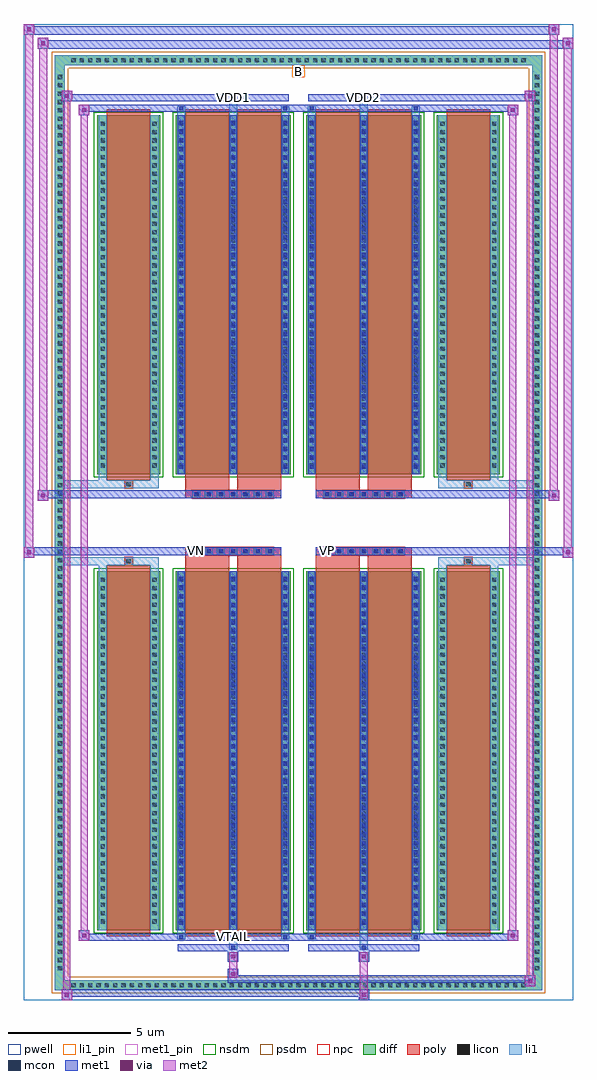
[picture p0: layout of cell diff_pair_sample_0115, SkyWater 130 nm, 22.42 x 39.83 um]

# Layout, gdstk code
import gdstk
lib = gdstk.Library(unit=1e-6, precision=5e-09)
def R(c, l, rs):  # rectangles x0, y0, x1, y1
    for r in rs: c.add(gdstk.rectangle(r[:2], r[2:], *l))
def A(c, l, x, y, w, h, nx, ny, dx, dy):  # array of equal rectangles
    R(c, l, [(x+i*dx, y+j*dy, x+i*dx+w, y+j*dy+h) for i in range(nx) for j in range(ny)])
def P(c, l, *ps):  # polygons
    for p in ps: c.add(gdstk.Polygon(p, *l))
pwell = (64, 44)
diff = (65, 20)
poly = (66, 20)
licon = (66, 44)
li1_pin = (67, 16)
li1 = (67, 20)
mcon = (67, 44)
met1_pin = (68, 16)
met1 = (68, 20)
via = (68, 44)
met2 = (69, 20)
nsdm = (93, 44)
psdm = (94, 20)
npc = (95, 20)

diff_pair_sample_0115 = lib.new_cell('diff_pair_sample_0115')
R(diff_pair_sample_0115, pwell, [(-11.21,-19.48,11.21,20.35), (-8.53,-17.67,-0.01,-0.795), (0.01,-17.67,8.53,-0.795), (-8.53,0.795,-0.01,17.67), (0.01,0.795,8.53,17.67)])
A(diff_pair_sample_0115, diff, -9.385, -19.08, 0.41, 0.41, 55, 2, 0.34, 37.75)
A(diff_pair_sample_0115, diff, -9.94, -18.395, 0.41, 0.41, 1, 108, 0, 0.34)
A(diff_pair_sample_0115, diff, 9.53, -18.395, 0.41, 0.41, 1, 108, 0, 0.34)
R(diff_pair_sample_0115, diff, [(-9.385,-19.08,9.385,-18.67), (-9.94,-18.395,-9.53,18.395), (9.53,-18.395,9.94,18.395), (-8.22,-16.625,-5.65,-1.985), (-5.01,-16.625,-0.32,-1.985), (0.32,-16.625,5.01,-1.985), (5.65,-16.625,8.22,-1.985), (-8.22,1.985,-5.65,16.625), (-5.01,1.985,-0.32,16.625), (0.32,1.985,5.01,16.625), (5.65,1.985,8.22,16.625), (-9.385,18.67,9.385,19.08)])
P(diff_pair_sample_0115, diff, [(9.94,19.08),(-9.94,19.08),(-9.94,-18.67),(-9.53,-18.67),(-9.53,18.67),(9.53,18.67),(9.53,-18.67),(-9.53,-18.67),(-9.94,-18.67),(-9.94,-19.08),(9.94,-19.08)])
A(diff_pair_sample_0115, poly, -4.33, -1.325, 0.33, 0.33, 7, 2, 0.5, 2.32)
A(diff_pair_sample_0115, poly, 1, -1.325, 0.33, 0.33, 7, 2, 0.5, 2.32)
R(diff_pair_sample_0115, poly, [(-7.83,-16.875,-6.04,-1.735), (-4.62,-16.875,-2.83,-1.735), (-2.5,-16.875,-0.71,-1.735), (0.71,-16.875,2.5,-1.735), (2.83,-16.875,4.62,-1.735), (6.04,-16.875,7.83,-1.735), (-7.1,-1.735,-6.77,-1.405), (-7.1,-1.735,-6.77,-1.405), (-4.62,-1.735,-2.83,-1.325), (-2.5,-1.735,-0.71,-1.325), (0.71,-1.735,2.5,-1.325), (2.83,-1.735,4.62,-1.325), (6.77,-1.735,7.1,-1.405), (6.77,-1.735,7.1,-1.405), (-4.62,-1.325,-0.71,-0.995), (0.71,-1.325,4.62,-0.995), (-4.62,0.995,-0.71,1.325), (0.71,0.995,4.62,1.325), (-4.62,1.325,-2.83,1.735), (-2.5,1.325,-0.71,1.735), (0.71,1.325,2.5,1.735), (2.83,1.325,4.62,1.735), (-7.1,1.405,-6.77,1.735), (-7.1,1.405,-6.77,1.735), (6.77,1.405,7.1,1.735), (6.77,1.405,7.1,1.735), (-7.83,1.735,-6.04,16.875), (-4.62,1.735,-2.83,16.875), (-2.5,1.735,-0.71,16.875), (0.71,1.735,2.5,16.875), (2.83,1.735,4.62,16.875), (6.04,1.735,7.83,16.875)])
A(diff_pair_sample_0115, licon, -9.265, -18.96, 0.17, 0.17, 55, 2, 0.34, 37.75)
A(diff_pair_sample_0115, licon, -9.82, -18.275, 0.17, 0.17, 1, 108, 0, 0.34)
A(diff_pair_sample_0115, licon, 9.65, -18.275, 0.17, 0.17, 1, 108, 0, 0.34)
A(diff_pair_sample_0115, licon, -8.08, -16.36, 0.17, 0.17, 1, 42, 0, 0.34)
A(diff_pair_sample_0115, licon, -5.96, -16.36, 0.17, 0.17, 1, 42, 0, 0.34)
A(diff_pair_sample_0115, licon, -4.87, -16.36, 0.17, 0.17, 3, 42, 2.12, 0.34)
A(diff_pair_sample_0115, licon, 0.46, -16.36, 0.17, 0.17, 3, 42, 2.12, 0.34)
A(diff_pair_sample_0115, licon, 5.79, -16.36, 0.17, 0.17, 1, 42, 0, 0.34)
A(diff_pair_sample_0115, licon, 7.91, -16.36, 0.17, 0.17, 1, 42, 0, 0.34)
A(diff_pair_sample_0115, licon, -4.25, -1.245, 0.17, 0.17, 7, 2, 0.5, 2.32)
A(diff_pair_sample_0115, licon, 1.08, -1.245, 0.17, 0.17, 7, 2, 0.5, 2.32)
A(diff_pair_sample_0115, licon, -8.08, 2.25, 0.17, 0.17, 1, 42, 0, 0.34)
A(diff_pair_sample_0115, licon, -5.96, 2.25, 0.17, 0.17, 1, 42, 0, 0.34)
A(diff_pair_sample_0115, licon, -4.87, 2.25, 0.17, 0.17, 3, 42, 2.12, 0.34)
A(diff_pair_sample_0115, licon, 0.46, 2.25, 0.17, 0.17, 3, 42, 2.12, 0.34)
A(diff_pair_sample_0115, licon, 5.79, 2.25, 0.17, 0.17, 1, 42, 0, 0.34)
A(diff_pair_sample_0115, licon, 7.91, 2.25, 0.17, 0.17, 1, 42, 0, 0.34)
R(diff_pair_sample_0115, licon, [(-7.02,-1.655,-6.85,-1.485), (6.85,-1.655,7.02,-1.485), (-7.02,1.485,-6.85,1.655), (6.85,1.485,7.02,1.655)])
R(diff_pair_sample_0115, li1_pin, [(-0.25,18.17,0.25,18.67)])
A(diff_pair_sample_0115, li1, -9.345, -19.04, 0.33, 0.33, 55, 2, 0.34, 37.75)
A(diff_pair_sample_0115, li1, -9.9, -18.355, 0.33, 0.33, 1, 108, 0, 0.34)
A(diff_pair_sample_0115, li1, 9.57, -18.355, 0.33, 0.33, 1, 108, 0, 0.34)
A(diff_pair_sample_0115, li1, -4.95, -16.625, 0.33, 14.64, 3, 2, 2.12, 18.61)
A(diff_pair_sample_0115, li1, 0.38, -16.625, 0.33, 14.64, 3, 2, 2.12, 18.61)
A(diff_pair_sample_0115, li1, -8.16, -16.44, 0.33, 0.33, 1, 42, 0, 0.34)
A(diff_pair_sample_0115, li1, -6.04, -16.44, 0.33, 0.33, 1, 42, 0, 0.34)
A(diff_pair_sample_0115, li1, -4.95, -16.44, 0.33, 0.33, 3, 42, 2.12, 0.34)
A(diff_pair_sample_0115, li1, 0.38, -16.44, 0.33, 0.33, 3, 42, 2.12, 0.34)
A(diff_pair_sample_0115, li1, 5.71, -16.44, 0.33, 0.33, 1, 42, 0, 0.34)
A(diff_pair_sample_0115, li1, 7.83, -16.44, 0.33, 0.33, 1, 42, 0, 0.34)
A(diff_pair_sample_0115, li1, -4.87, -16.41, 0.17, 0.17, 3, 40, 2.12, 0.36)
A(diff_pair_sample_0115, li1, -4.87, -16.41, 0.17, 14.21, 3, 2, 2.12, 18.61)
A(diff_pair_sample_0115, li1, 0.46, -16.41, 0.17, 0.17, 3, 40, 2.12, 0.36)
A(diff_pair_sample_0115, li1, 0.46, -16.41, 0.17, 14.21, 3, 2, 2.12, 18.61)
A(diff_pair_sample_0115, li1, -4.33, -1.325, 0.33, 0.33, 7, 2, 0.5, 2.32)
A(diff_pair_sample_0115, li1, 1, -1.325, 0.33, 0.33, 7, 2, 0.5, 2.32)
A(diff_pair_sample_0115, li1, -8.16, 2.17, 0.33, 0.33, 1, 42, 0, 0.34)
A(diff_pair_sample_0115, li1, -6.04, 2.17, 0.33, 0.33, 1, 42, 0, 0.34)
A(diff_pair_sample_0115, li1, -4.95, 2.17, 0.33, 0.33, 3, 42, 2.12, 0.34)
A(diff_pair_sample_0115, li1, 0.38, 2.17, 0.33, 0.33, 3, 42, 2.12, 0.34)
A(diff_pair_sample_0115, li1, 5.71, 2.17, 0.33, 0.33, 1, 42, 0, 0.34)
A(diff_pair_sample_0115, li1, 7.83, 2.17, 0.33, 0.33, 1, 42, 0, 0.34)
A(diff_pair_sample_0115, li1, -4.87, 2.2, 0.17, 0.17, 3, 40, 2.12, 0.36)
A(diff_pair_sample_0115, li1, 0.46, 2.2, 0.17, 0.17, 3, 40, 2.12, 0.36)
R(diff_pair_sample_0115, li1, [(-9.94,-19.08,-9.53,-18.67), (-9.94,-19.08,-9.53,-18.67), (-9.53,-19.08,9.53,-18.67), (9.53,-19.08,9.94,-18.67), (9.53,-19.08,9.94,-18.67), (-9.94,-18.67,-9.53,18.67), (9.53,-18.67,9.94,18.67), (-2.83,-17.43,-2.5,-16.625), (-2.75,-17.43,-2.58,-17.26), (2.5,-17.43,2.83,-16.625), (2.58,-17.43,2.75,-17.26), (-4.95,-17,-4.62,-16.625), (-4.87,-17,-4.7,-16.83), (-0.71,-17,-0.38,-16.625), (-0.63,-17,-0.46,-16.83), (0.38,-17,0.71,-16.625), (0.46,-17,0.63,-16.83), (4.62,-17,4.95,-16.625), (4.7,-17,4.87,-16.83), (-8.16,-16.625,-7.83,-1.985), (-6.04,-16.625,-5.71,-1.985), (5.71,-16.625,6.04,-1.985), (7.83,-16.625,8.16,-1.985), (-8.16,-1.985,-7.83,-1.405), (-6.04,-1.985,-5.71,-1.405), (5.71,-1.985,6.04,-1.405), (7.83,-1.985,8.16,-1.405), (-9.94,-1.735,-7.1,-1.405), (-8.16,-1.735,-7.1,-1.405), (-7.1,-1.735,-6.77,-1.405), (-6.77,-1.735,-5.71,-1.405), (5.71,-1.735,6.77,-1.405), (6.77,-1.735,7.1,-1.405), (6.77,-1.735,9.94,-1.405), (7.1,-1.735,8.16,-1.405), (-9.94,1.405,-7.1,1.735), (-8.16,1.405,-7.1,1.735), (-8.16,1.405,-7.83,1.985), (-7.1,1.405,-6.77,1.735), (-6.77,1.405,-5.71,1.735), (-6.04,1.405,-5.71,1.985), (5.71,1.405,6.77,1.735), (5.71,1.405,6.04,1.985), (6.77,1.405,7.1,1.735), (6.77,1.405,9.94,1.735), (7.1,1.405,8.16,1.735), (7.83,1.405,8.16,1.985), (-8.16,1.985,-7.83,16.625), (-6.04,1.985,-5.71,16.625), (5.71,1.985,6.04,16.625), (7.83,1.985,8.16,16.625), (-4.95,16.625,-4.62,17), (-2.83,16.625,-2.5,17.43), (-0.71,16.625,-0.38,17), (0.38,16.625,0.71,17), (2.5,16.625,2.83,17.43), (4.62,16.625,4.95,17), (-4.87,16.83,-4.7,17), (-0.63,16.83,-0.46,17), (0.46,16.83,0.63,17), (4.7,16.83,4.87,17), (-2.75,17.26,-2.58,17.43), (2.58,17.26,2.75,17.43), (-9.94,18.67,-9.53,19.08), (-9.94,18.67,-9.53,19.08), (-9.53,18.67,9.53,19.08), (9.53,18.67,9.94,19.08), (9.53,18.67,9.94,19.08)])
A(diff_pair_sample_0115, mcon, -4.87, -16.41, 0.17, 0.17, 3, 40, 2.12, 0.36)
A(diff_pair_sample_0115, mcon, 0.46, -16.41, 0.17, 0.17, 3, 40, 2.12, 0.36)
A(diff_pair_sample_0115, mcon, -4.25, -1.245, 0.17, 0.17, 7, 2, 0.5, 2.32)
A(diff_pair_sample_0115, mcon, 1.08, -1.245, 0.17, 0.17, 7, 2, 0.5, 2.32)
A(diff_pair_sample_0115, mcon, -4.87, 2.2, 0.17, 0.17, 3, 40, 2.12, 0.36)
A(diff_pair_sample_0115, mcon, 0.46, 2.2, 0.17, 0.17, 3, 40, 2.12, 0.36)
R(diff_pair_sample_0115, mcon, [(-2.75,-17.43,-2.58,-17.26), (2.58,-17.43,2.75,-17.26), (-4.87,-17,-4.7,-16.83), (-0.63,-17,-0.46,-16.83), (0.46,-17,0.63,-16.83), (4.7,-17,4.87,-16.83), (-4.87,16.83,-4.7,17), (-0.63,16.83,-0.46,17), (0.46,16.83,0.63,17), (4.7,16.83,4.87,17), (-2.75,17.26,-2.58,17.43), (2.58,17.26,2.75,17.43)])
R(diff_pair_sample_0115, met1_pin, [(-2.8,-17.04,-2.53,-16.77), (-4.3,-1.285,-4.03,-1.015), (1.03,-1.285,1.3,-1.015), (-2.8,17.22,-2.53,17.49), (2.53,17.22,2.8,17.49)])
A(diff_pair_sample_0115, met1, -4.93, -16.625, 0.29, 14.64, 3, 2, 2.12, 18.61)
A(diff_pair_sample_0115, met1, 0.4, -16.625, 0.29, 14.64, 3, 2, 2.12, 18.61)
A(diff_pair_sample_0115, met1, -4.93, -16.47, 0.29, 0.29, 3, 40, 2.12, 0.36)
A(diff_pair_sample_0115, met1, 0.4, -16.47, 0.29, 0.29, 3, 40, 2.12, 0.36)
A(diff_pair_sample_0115, met1, -4.31, -1.305, 0.29, 0.29, 7, 2, 0.5, 2.32)
A(diff_pair_sample_0115, met1, 1.02, -1.305, 0.29, 0.29, 7, 2, 0.5, 2.32)
A(diff_pair_sample_0115, met1, -4.93, 2.14, 0.29, 0.29, 3, 40, 2.12, 0.36)
A(diff_pair_sample_0115, met1, 0.4, 2.14, 0.29, 0.29, 3, 40, 2.12, 0.36)
R(diff_pair_sample_0115, met1, [(-9.67,-19.48,-9.24,-19.05), (2.45,-19.48,2.88,-19.05), (-9.67,-19.34,2.88,-19.05), (9.24,-18.91,9.67,-18.48), (-2.88,-18.77,9.67,-18.48), (-2.88,-18.63,-2.45,-18.2), (-2.88,-17.92,-2.45,-17.49), (2.45,-17.92,2.88,-17.49), (-4.93,-17.49,-0.4,-17.2), (-2.81,-17.49,-2.52,-17.2), (0.4,-17.49,4.93,-17.2), (2.52,-17.49,2.81,-17.2), (-8.96,-17.06,-8.53,-16.63), (-8.96,-17.06,-4.93,-16.77), (-4.93,-17.06,-4.64,-16.77), (-4.93,-17.06,-0.4,-16.77), (-0.69,-17.06,-0.4,-16.77), (-0.4,-17.06,0.4,-16.77), (0.4,-17.06,0.69,-16.77), (0.4,-17.06,4.93,-16.77), (4.64,-17.06,4.93,-16.77), (4.93,-17.06,8.96,-16.77), (8.53,-17.06,8.96,-16.63), (-11.21,-1.425,-10.78,-0.995), (10.78,-1.425,11.21,-0.995), (-11.21,-1.325,-0.71,-0.995), (-4.62,-1.325,-0.71,-0.995), (0.71,-1.325,4.62,-0.995), (0.71,-1.325,11.21,-0.995), (-10.64,0.895,-10.21,1.325), (10.21,0.895,10.64,1.325), (-10.64,0.995,-4.62,1.325), (-4.62,0.995,-0.71,1.325), (0.71,0.995,4.62,1.325), (4.62,0.995,10.64,1.325), (-8.96,16.63,-8.53,17.06), (8.53,16.63,8.96,17.06), (-8.96,16.77,-4.93,17.06), (-4.93,16.77,-4.64,17.06), (-4.93,16.77,-0.4,17.06), (-0.69,16.77,-0.4,17.06), (-0.4,16.77,0.4,17.06), (0.4,16.77,0.69,17.06), (0.4,16.77,4.93,17.06), (4.64,16.77,4.93,17.06), (4.93,16.77,8.96,17.06), (-9.67,17.2,-9.24,17.63), (-9.67,17.2,-4.93,17.49), (-4.93,17.2,-0.4,17.49), (-2.81,17.2,-2.52,17.49), (0.4,17.2,4.93,17.49), (2.52,17.2,2.81,17.49), (4.93,17.2,9.67,17.49), (9.24,17.2,9.67,17.63), (-10.64,19.35,-10.21,19.78), (-10.64,19.35,-8.53,19.68), (-8.53,19.35,8.53,19.68), (8.53,19.35,11.21,19.68), (10.78,19.35,11.21,19.78), (-11.21,19.92,-10.78,20.35), (-11.21,19.92,-8.53,20.25), (-8.53,19.92,8.53,20.25), (8.53,19.92,10.64,20.25), (10.21,19.92,10.64,20.35)])
R(diff_pair_sample_0115, via, [(-9.53,-19.34,-9.38,-19.19), (2.59,-19.34,2.74,-19.19), (9.38,-18.77,9.53,-18.62), (-2.74,-18.49,-2.59,-18.34), (-2.74,-17.78,-2.59,-17.63), (2.59,-17.78,2.74,-17.63), (-8.82,-16.92,-8.67,-16.77), (8.67,-16.92,8.82,-16.77), (-11.07,-1.285,-10.92,-1.135), (10.92,-1.285,11.07,-1.135), (-10.5,1.035,-10.35,1.185), (10.35,1.035,10.5,1.185), (-8.82,16.77,-8.67,16.92), (8.67,16.77,8.82,16.92), (-9.53,17.34,-9.38,17.49), (9.38,17.34,9.53,17.49), (-10.5,19.49,-10.35,19.64), (10.92,19.49,11.07,19.64), (-11.07,20.06,-10.92,20.21), (10.35,20.06,10.5,20.21)])
R(diff_pair_sample_0115, met2, [(-9.67,-19.48,-9.24,-19.05), (-9.6,-19.48,-9.31,17.63), (-9.31,-19.48,-9.24,-19.05), (-9.62,-19.43,-9.29,-19.1), (2.5,-19.43,2.83,-19.1), (2.5,-19.1,2.83,-17.87), (9.24,-18.91,9.67,-18.48), (9.31,-18.91,9.6,17.63), (9.6,-18.91,9.67,-18.48), (9.29,-18.86,9.62,-18.53), (-2.83,-18.58,-2.5,-18.25), (-2.83,-18.25,-2.5,-17.87), (-2.83,-17.87,-2.5,-17.54), (2.5,-17.87,2.83,-17.54), (-8.96,-17.06,-8.53,-16.63), (-8.89,-17.06,-8.6,17.06), (-8.6,-17.06,-8.53,-16.63), (8.53,-17.06,8.96,-16.63), (8.6,-17.06,8.89,17.06), (8.89,-17.06,8.96,-16.63), (-8.91,-17.01,-8.58,-16.68), (8.58,-17.01,8.91,-16.68), (-11.21,-1.425,-10.78,-0.995), (-11.16,-1.425,-10.83,20.35), (-10.83,-1.425,-10.78,-0.995), (10.78,-1.425,11.21,-0.995), (10.83,-1.425,11.16,19.78), (11.16,-1.425,11.21,-0.995), (-11.16,-1.375,-10.83,-1.045), (10.83,-1.375,11.16,-1.045), (-10.64,0.895,-10.21,1.325), (-10.59,0.895,-10.26,19.78), (-10.26,0.895,-10.21,1.325), (10.21,0.895,10.64,1.325), (10.26,0.895,10.59,20.35), (10.59,0.895,10.64,1.325), (-10.59,0.945,-10.26,1.275), (10.26,0.945,10.59,1.275), (-8.96,16.63,-8.53,17.06), (-8.6,16.63,-8.53,17.06), (8.53,16.63,8.96,17.06), (8.89,16.63,8.96,17.06), (-8.91,16.68,-8.58,17.01), (8.58,16.68,8.91,17.01), (-9.67,17.2,-9.24,17.63), (-9.31,17.2,-9.24,17.63), (9.24,17.2,9.67,17.63), (9.6,17.2,9.67,17.63), (-9.62,17.25,-9.29,17.58), (9.29,17.25,9.62,17.58), (-10.64,19.35,-10.21,19.78), (-10.26,19.35,-10.21,19.78), (10.78,19.35,11.21,19.78), (11.16,19.35,11.21,19.78), (-10.59,19.4,-10.26,19.73), (10.83,19.4,11.16,19.73), (-11.21,19.92,-10.78,20.35), (-10.83,19.92,-10.78,20.35), (10.21,19.92,10.64,20.35), (10.59,19.92,10.64,20.35), (-11.16,19.97,-10.83,20.3), (10.26,19.97,10.59,20.3)])
R(diff_pair_sample_0115, nsdm, [(-8.35,-16.755,-5.52,-1.855), (-5.14,-16.755,-0.19,-1.855), (0.19,-16.755,5.14,-1.855), (5.52,-16.755,8.35,-1.855), (-8.35,1.855,-5.52,16.755), (-5.14,1.855,-0.19,16.755), (0.19,1.855,5.14,16.755), (5.52,1.855,8.35,16.755)])
P(diff_pair_sample_0115, psdm, [(10.07,19.21),(-10.07,19.21),(-10.07,-18.54),(-9.4,-18.54),(-9.4,18.54),(9.4,18.54),(9.4,-18.54),(-9.4,-18.54),(-10.07,-18.54),(-10.07,-19.21),(10.07,-19.21)])
A(diff_pair_sample_0115, npc, -4.35, -1.345, 0.37, 0.37, 7, 2, 0.5, 2.32)
A(diff_pair_sample_0115, npc, 0.98, -1.345, 0.37, 0.37, 7, 2, 0.5, 2.32)
R(diff_pair_sample_0115, npc, [(-7.12,-1.755,-6.75,-1.385), (6.75,-1.755,7.12,-1.385), (-4.35,-1.345,-3.48,-0.975), (-4.35,-1.345,-3.48,-0.975), (-3.85,-1.345,-2.98,-0.975), (-3.85,-1.345,-2.98,-0.975), (-3.35,-1.345,-2.48,-0.975), (-3.35,-1.345,-2.48,-0.975), (-2.85,-1.345,-1.98,-0.975), (-2.85,-1.345,-1.98,-0.975), (-2.35,-1.345,-1.48,-0.975), (-2.35,-1.345,-1.48,-0.975), (-1.85,-1.345,-0.98,-0.975), (-1.85,-1.345,-0.98,-0.975), (0.98,-1.345,1.85,-0.975), (0.98,-1.345,1.85,-0.975), (1.48,-1.345,2.35,-0.975), (1.48,-1.345,2.35,-0.975), (1.98,-1.345,2.85,-0.975), (1.98,-1.345,2.85,-0.975), (2.48,-1.345,3.35,-0.975), (2.48,-1.345,3.35,-0.975), (2.98,-1.345,3.85,-0.975), (2.98,-1.345,3.85,-0.975), (3.48,-1.345,4.35,-0.975), (3.48,-1.345,4.35,-0.975), (-4.35,0.975,-3.48,1.345), (-4.35,0.975,-3.48,1.345), (-3.85,0.975,-2.98,1.345), (-3.85,0.975,-2.98,1.345), (-3.35,0.975,-2.48,1.345), (-3.35,0.975,-2.48,1.345), (-2.85,0.975,-1.98,1.345), (-2.85,0.975,-1.98,1.345), (-2.35,0.975,-1.48,1.345), (-2.35,0.975,-1.48,1.345), (-1.85,0.975,-0.98,1.345), (-1.85,0.975,-0.98,1.345), (0.98,0.975,1.85,1.345), (0.98,0.975,1.85,1.345), (1.48,0.975,2.35,1.345), (1.48,0.975,2.35,1.345), (1.98,0.975,2.85,1.345), (1.98,0.975,2.85,1.345), (2.48,0.975,3.35,1.345), (2.48,0.975,3.35,1.345), (2.98,0.975,3.85,1.345), (2.98,0.975,3.85,1.345), (3.48,0.975,4.35,1.345), (3.48,0.975,4.35,1.345), (-7.12,1.385,-6.75,1.755), (6.75,1.385,7.12,1.755)])
diff_pair_sample_0115.add(gdstk.Label('VTAIL', (-2.665,-16.905), layer=68, texttype=5))
diff_pair_sample_0115.add(gdstk.Label('VN', (-4.165,-1.15), layer=68, texttype=5))
diff_pair_sample_0115.add(gdstk.Label('VP', (1.165,-1.15), layer=68, texttype=5))
diff_pair_sample_0115.add(gdstk.Label('B', (0,18.42), layer=67, texttype=5))
diff_pair_sample_0115.add(gdstk.Label('VDD2', (2.665,17.355), layer=68, texttype=5))
diff_pair_sample_0115.add(gdstk.Label('VDD1', (-2.665,17.355), layer=68, texttype=5))

lib.write_gds('diff_pair_sample_0115.gds')
